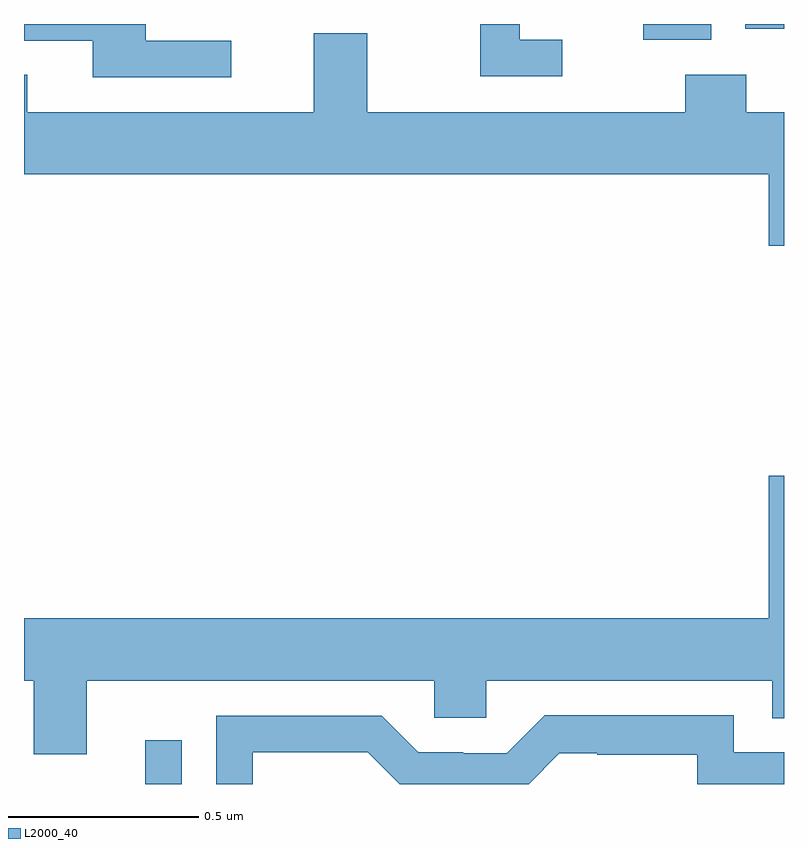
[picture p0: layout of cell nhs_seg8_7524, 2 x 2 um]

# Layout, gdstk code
import gdstk
lib = gdstk.Library(unit=1e-6, precision=1e-09)
def R(c, l, rs):  # rectangles x0, y0, x1, y1
    for r in rs: c.add(gdstk.rectangle(r[:2], r[2:], *l))
def P(c, l, *ps):  # polygons
    for p in ps: c.add(gdstk.Polygon(p, *l))
L2000_40 = (2000, 40)

nhs_seg8_7524 = lib.new_cell('nhs_seg8_7524')
R(nhs_seg8_7524, L2000_40, [(211.319,1110.9,211.415,1111.015), (212.63,1112.858,212.809,1112.9), (212.898,1112.887,213,1112.9)])
P(nhs_seg8_7524, L2000_40, [(211.546,1112.856),(211.321,1112.856),(211.321,1112.9),(211,1112.9),(211,1112.856),(211.181,1112.856),(211.181,1112.76),(211.546,1112.76)],
  [(212.416,1112.859),(212.305,1112.859),(212.305,1112.9),(212.201,1112.9),(212.201,1112.763),(212.416,1112.763)],
  [(213,1112.668),(212.9,1112.668),(212.9,1112.767),(212.74,1112.767),(212.74,1112.668),(211.903,1112.668),(211.903,1112.876),(211.763,1112.876),(211.763,1112.668),(211.009,1112.668),(211.009,1112.767),(211,1112.767),(211,1112.504),(212.96,1112.504),(212.96,1112.316),(213,1112.316)],
  [(211.165,1111.172),(212.079,1111.172),(212.079,1111.074),(212.217,1111.074),(212.217,1111.172),(212.969,1111.172),(212.969,1111.073),(213,1111.073),(213,1111.711),(212.96,1111.711),(212.96,1111.336),(211,1111.336),(211,1111.172),(211.025,1111.172),(211.025,1110.978),(211.165,1110.978)],
  [(211.602,1110.984),(211.905,1110.984),(211.989,1110.9),(212.328,1110.9),(212.409,1110.981),(212.509,1110.981),(212.509,1110.977),(212.772,1110.977),(212.772,1110.9),(213,1110.9),(213,1110.984),(212.868,1110.984),(212.868,1111.081),(212.371,1111.081),(212.271,1110.981),(212.156,1110.981),(212.156,1110.984),(212.037,1110.984),(211.941,1111.08),(211.506,1111.08),(211.506,1110.9),(211.602,1110.9)])

lib.write_gds('nhs_seg8_7524.gds')
